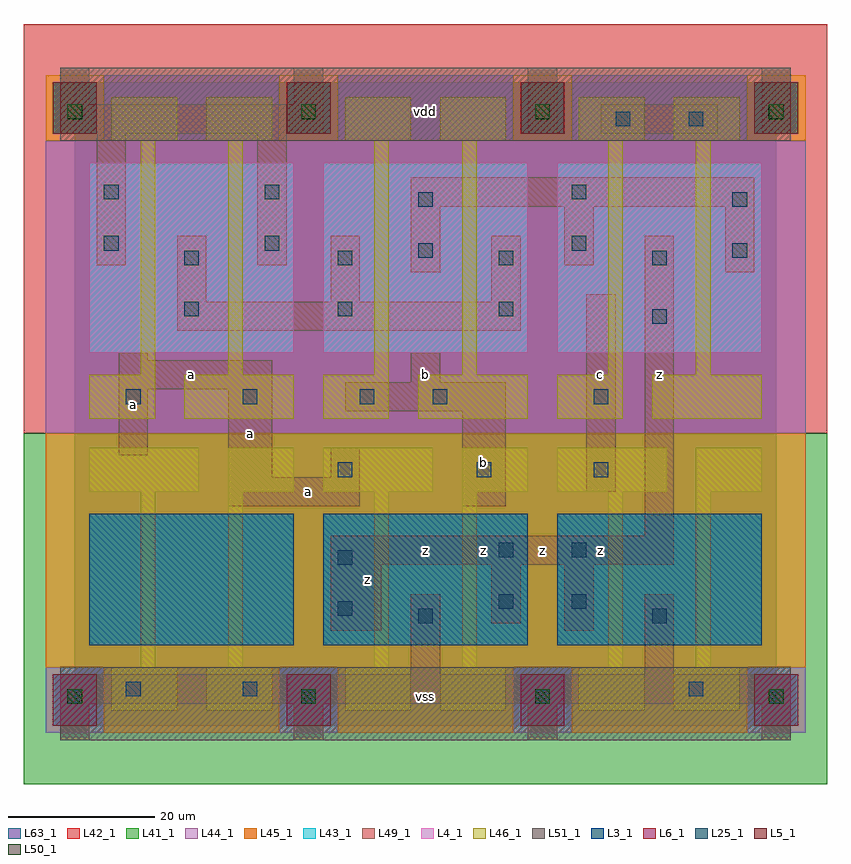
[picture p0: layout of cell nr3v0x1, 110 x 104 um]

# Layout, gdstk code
import gdstk
lib = gdstk.Library(unit=1e-6, precision=1e-09)
def R(c, l, rs):  # rectangles x0, y0, x1, y1
    for r in rs: c.add(gdstk.rectangle(r[:2], r[2:], *l))
def A(c, l, x, y, w, h, nx, ny, dx, dy):  # array of equal rectangles
    R(c, l, [(x+i*dx, y+j*dy, x+i*dx+w, y+j*dy+h) for i in range(nx) for j in range(ny)])
L3_1 = (3, 1)
L4_1 = (4, 1)
L5_1 = (5, 1)
L6_1 = (6, 1)
L25_1 = (25, 1)
L41_1 = (41, 1)
L42_1 = (42, 1)
L43_1 = (43, 1)
L44_1 = (44, 1)
L45_1 = (45, 1)
L46_1 = (46, 1)
L49_1 = (49, 1)
L50_1 = (50, 1)
L51_1 = (51, 1)
L63_1 = (63, 1)

nr3v0x1 = lib.new_cell('nr3v0x1')
A(nr3v0x1, L3_1, 2, 11, 28, 18, 3, 1, 32, 0)
A(nr3v0x1, L4_1, 2, 51, 28, 26, 3, 1, 32, 0)
A(nr3v0x1, L5_1, -3, 81, 6, 7, 4, 1, 32, 0)
R(nr3v0x1, L6_1, [(-3,0,3,7), (-3,0,3,7), (29,0,35,7), (29,0,35,7), (61,0,67,7), (61,0,67,7), (93,0,99,7), (93,0,99,7)])
A(nr3v0x1, L25_1, -1, 3, 2, 2, 4, 2, 32, 80)
A(nr3v0x1, L25_1, 7, 44, 2, 2, 3, 1, 16, 0)
R(nr3v0x1, L25_1, [(7,4,9,6), (23,4,25,6), (84,4,86,6), (47,14,49,16), (79,14,81,16), (36,15,38,17), (58,16,60,18), (68,16,70,18), (36,22,38,24), (58,23,60,25), (68,23,70,25), (36,34,38,36), (55,34,57,36), (71,34,73,36), (49,44,51,46), (71,44,73,46), (79,55,81,57), (15,56,17,58), (36,56,38,58), (58,56,60,58), (15,63,17,65), (36,63,38,65), (58,63,60,65), (79,63,81,65), (47,64,49,66), (90,64,92,66), (4,65,6,67), (26,65,28,67), (68,65,70,67), (47,71,49,73), (90,71,92,73), (4,72,6,74), (26,72,28,74), (68,72,70,74), (74,82,76,84), (84,82,86,84)])
R(nr3v0x1, L41_1, [(-7,-8,103,40)])
R(nr3v0x1, L42_1, [(-7,40,103,96)])
A(nr3v0x1, L43_1, -3, 0, 6, 7, 4, 2, 32, 81)
A(nr3v0x1, L43_1, 2, 11, 28, 18, 3, 1, 32, 0)
A(nr3v0x1, L43_1, 2, 51, 28, 26, 3, 1, 32, 0)
A(nr3v0x1, L44_1, -4, -1, 8, 9, 4, 1, 32, 0)
A(nr3v0x1, L44_1, 4, 80, 24, 9, 3, 1, 32, 0)
R(nr3v0x1, L44_1, [(-4,40,100,80)])
A(nr3v0x1, L45_1, 4, -1, 24, 9, 3, 1, 32, 0)
A(nr3v0x1, L45_1, -4, 80, 8, 9, 4, 1, 32, 0)
R(nr3v0x1, L45_1, [(-4,8,100,40)])
A(nr3v0x1, L46_1, 2, 32, 15, 6, 3, 1, 32, 0)
A(nr3v0x1, L46_1, 21, 32, 9, 6, 3, 1, 32, 0)
A(nr3v0x1, L46_1, 2, 42, 9, 6, 3, 1, 32, 0)
A(nr3v0x1, L46_1, 15, 42, 15, 6, 3, 1, 32, 0)
R(nr3v0x1, L46_1, [(5,2,14,8), (18,2,27,8), (37,2,46,8), (50,2,59,8), (69,2,78,8), (82,2,91,8), (9,8,11,32), (21,8,23,32), (41,8,43,32), (53,8,55,32), (73,8,75,32), (85,8,87,32), (9,48,11,80), (21,48,23,80), (41,48,43,80), (53,48,55,80), (73,48,75,80), (85,48,87,80), (5,80,14,86), (18,80,27,86), (37,80,46,86), (50,80,59,86), (69,80,78,86), (82,80,91,86)])
A(nr3v0x1, L49_1, -2, -2, 4, 5, 4, 1, 32, 0)
R(nr3v0x1, L49_1, [(-2,3,98,7), (46,7,50,18), (78,7,82,18), (35,13,42,22), (67,13,71,22), (57,14,61,22), (35,22,82,26), (78,26,82,67), (21,30,39,34), (53,30,59,43), (70,32,74,59), (21,34,27,46), (35,34,39,38), (6,37,10,46), (37,43,59,47), (6,46,27,50), (46,47,50,51), (6,50,10,51), (14,54,61,58), (14,58,18,67), (35,58,39,67), (57,58,61,67), (46,62,50,71), (89,62,93,71), (3,63,7,81), (25,63,29,81), (67,63,71,71), (46,71,93,75), (-2,81,34,85), (62,81,66,90), (72,81,88,85), (94,81,98,90), (-2,85,2,90), (30,85,34,90)])
A(nr3v0x1, L50_1, -1, 3, 2, 2, 4, 2, 32, 80)
R(nr3v0x1, L51_1, [(-2,-2,98,8), (-2,80,98,90)])
R(nr3v0x1, L63_1, [(0,0,96,88)])
nr3v0x1.add(gdstk.Label('a', (8,44), layer=49, texttype=1))
nr3v0x1.add(gdstk.Label('a', (32,32), layer=49, texttype=1))
nr3v0x1.add(gdstk.Label('a', (16,48), layer=49, texttype=1))
nr3v0x1.add(gdstk.Label('a', (24,40), layer=49, texttype=1))
nr3v0x1.add(gdstk.Label('z', (40,20), layer=49, texttype=1))
nr3v0x1.add(gdstk.Label('z', (56,24), layer=49, texttype=1))
nr3v0x1.add(gdstk.Label('z', (48,24), layer=49, texttype=1))
nr3v0x1.add(gdstk.Label('b', (56,36), layer=49, texttype=1))
nr3v0x1.add(gdstk.Label('b', (48,48), layer=49, texttype=1))
nr3v0x1.add(gdstk.Label('z', (72,24), layer=49, texttype=1))
nr3v0x1.add(gdstk.Label('z', (64,24), layer=49, texttype=1))
nr3v0x1.add(gdstk.Label('c', (72,48), layer=49, texttype=1))
nr3v0x1.add(gdstk.Label('z', (80,48), layer=49, texttype=1))
nr3v0x1.add(gdstk.Label('vss', (48,4), layer=51, texttype=1))
nr3v0x1.add(gdstk.Label('vdd', (48,84), layer=51, texttype=1))

lib.write_gds('nr3v0x1.gds')
